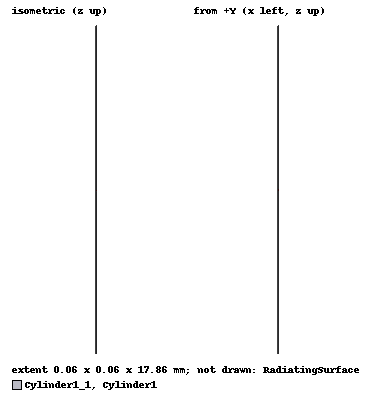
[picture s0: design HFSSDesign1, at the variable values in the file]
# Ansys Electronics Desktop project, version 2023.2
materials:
  vacuum: permittivity=1
  pec: conductivity=1e+30

design HFSSDesign1 (HFSS, HFSS Modal Network, model units mm)
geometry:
  Cylinder1 [pec] = cylinder(axis=Z, base_centre=(0mm, 0mm, 0.03mm), radius=0.03mm, height=8.9mm)
  Cylinder1_1 [pec] = Cylinder1.duplicate_around_axis(axis=Y, angle=180deg, total=2)
  Rectangle1 = rectangle(corner=(0.03mm, 0mm, 0.03mm), z_size=-0.06mm, x_size=-0.06mm)
  RadiatingSurface [vacuum] = region(absolute_offset=12.5mm on all sides)
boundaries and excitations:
  Open1: Radiation Objects=RadiatingSurface
  1: Lumped Port Objects=Rectangle1 LumpedPortType=Modal Modes{Mode1{IntLine{(0, 0, 0.03) -> (0, 0, -0.03)} CharImp=Zpi RenormImp=73ohm}} Impedance=50ohm
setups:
  Setup1: HfssDriven Frequency=8GHz MaxDeltaS=0.02 MaximumPasses=6 MinimumPasses=1 MinimumConvergedPasses=1 PercentRefinement=30 BasisOrder=1 PortAccuracy=2 DrivenSolverType="Direct Solver"
    sweep Sweep: 4GHz to 12GHz, 401 points; Type=Fast SaveFields
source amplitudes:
  1:1: 1W 0deg
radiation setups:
  3D: Infinite Sphere Theta=0deg..180deg step 2deg Phi=-180deg..180deg step 2deg
  Elevation: Infinite Sphere Theta=-180deg..180deg step 1deg Phi=0deg..90deg step 90deg
  Azimuth: Infinite Sphere Theta=90deg..90deg step 0deg Phi=-180deg..180deg step 1deg
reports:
  S Parameter Plot 1: dB(S(1,1)) vs Freq on Setup1 : Sweep
  S Parameter Plot 2: dB(S(1,1)) vs Freq on Setup1 : Sweep
  S Parameter Plot 3: dB(S(1,1)) vs Freq on Setup1 : Sweep
  S Parameter Plot 4: dB(S(1,1)) vs Freq on Setup1 : Sweep
  S Parameter Plot 5: dB(S(1,1)) vs Freq on Setup1 : Sweep
